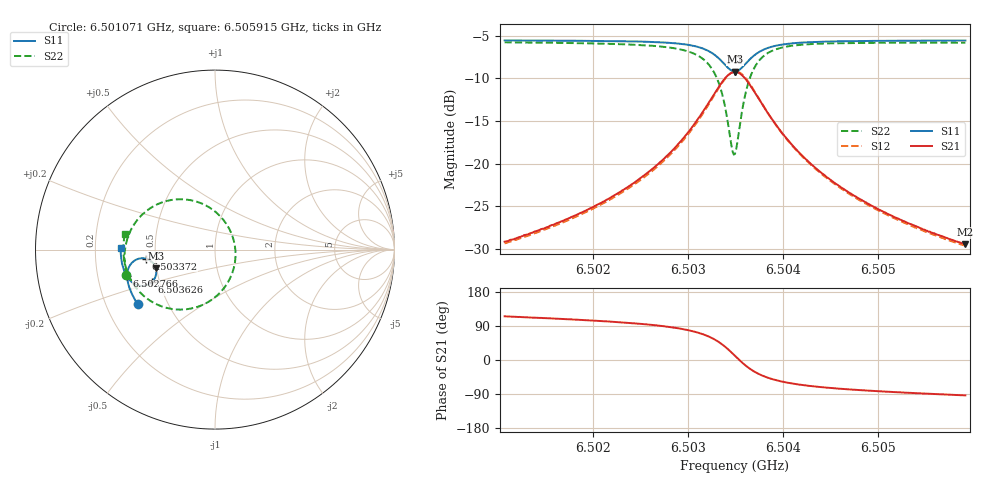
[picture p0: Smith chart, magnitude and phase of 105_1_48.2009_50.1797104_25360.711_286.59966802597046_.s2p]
#  HZ  S  RI  R  50.00
! Rohde & Schwarz Vector Network Analyzer
! Rohde-Schwarz,ZNB20-2Port,1311601062101988,3.16
! Created: UTC 3/20/2024, 11:40:45 AM
! freq[Hz]  re:S11  im:S11  re:S21  im:S21  re:S12  im:S12  re:S22  im:S22
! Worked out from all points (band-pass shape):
!   401 points, 6.501071 GHz to 6.505915 GHz, reference 50 ohm
!   highest |S21| = -9.27 dB at 6.503493 GHz (marker M1); lowest = -29.4 dB at 6.505915 GHz (marker M2)
!   |S21| within 3 dB of the highest: 6.50325 GHz to 6.503735 GHz (485.2 kHz wide, 0.00746 % of centre)
!   lowest |S11| = -9.2 dB at 6.503493 GHz (marker M3), VSWR 2.06, Z = 24.7 - j5.77 ohm
!   |S11| at or under -10 dB: nowhere
!   |S22| runs from -18.9 to -5.8 dB; largest |S21 - S12| = 0.012
!   S11 on the Smith chart (normalised r, x): 6.501071 GHz: 0.34, -0.28; 6.502766 GHz: 0.33, -0.13; 6.503372 GHz: 0.44, -0.05; 6.503626 GHz: 0.45, -0.19; 6.505915 GHz: 0.31, +0.01
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6.5010705e9  -0.4317 -0.3015  -0.0149 0.0316  -0.013 0.0316  -0.4933 -0.1423
6.5018819e9  -0.4658 -0.2403  -0.0139 0.05  -0.0116 0.0494  -0.5043 -0.0536
6.50233e9  -0.4811 -0.1997  -0.0109 0.0701  -0.0077 0.0688  -0.4997 0.0125
6.5026934e9  -0.489 -0.1584  -0.00119 0.1006  0.0026 0.0981  -0.4783 0.0884
6.502766e9  -0.4895 -0.1484  0.00289 0.1097  0.00668 0.1066  -0.4693 0.1081
6.5029719e9  -0.4856 -0.115  0.0248 0.1438  0.0285 0.1393  -0.4238 0.176
6.5031294e9  -0.4705 -0.0828  0.065 0.1802  0.0677 0.1743  -0.3454 0.2399
6.5032747e9  -0.432 -0.053  0.1482 0.2091  0.1489 0.2027  -0.1935 0.2806
6.5033231e9  -0.4104 -0.0482  0.1914 0.2075  0.1914 0.2017  -0.1177 0.2713
6.5033716e9  -0.3847 -0.0505  0.2411 0.1918  0.2411 0.1869  -0.0327 0.2356
6.5034564e9  -0.3414 -0.0804  0.32 0.1155  0.3225 0.1113  0.0936 0.085
6.5034927e9  -0.3306 -0.1028  0.3377 0.0658  0.3413 0.0604  0.114 -0.00832
6.5035169e9  -0.3274 -0.1193  0.341 0.0307  0.3451 0.0239  0.1111 -0.0727
6.5035532e9  -0.3298 -0.1438  0.3334 -0.0201  0.3368 -0.0292  0.0824 -0.1629
6.5036259e9  -0.3523 -0.1814  0.2855 -0.0974  0.2854 -0.109  -0.0302 -0.2873
6.5037228e9  -0.3938 -0.2012  0.2063 -0.141  0.201 -0.1512  -0.1921 -0.3342
6.5038802e9  -0.4435 -0.1937  0.1169 -0.1403  0.1096 -0.1457  -0.3544 -0.289
6.5040619e9  -0.4744 -0.171  0.0659 -0.1174  0.0596 -0.1197  -0.4369 -0.2164
6.5043041e9  -0.4956 -0.1411  0.0351 -0.0917  0.0301 -0.0923  -0.4815 -0.1421
6.5046796e9  -0.5117 -0.1013  0.015 -0.0667  0.0117 -0.0663  -0.5047 -0.0638
6.5051155e9  -0.5208 -0.0602  0.00521 -0.05  0.00295 -0.0494  -0.5108 -0.000154
6.5059149e9  -0.526 0.00794  -0.00195 -0.0337  -0.00332 -0.0327  -0.5034 0.0868
